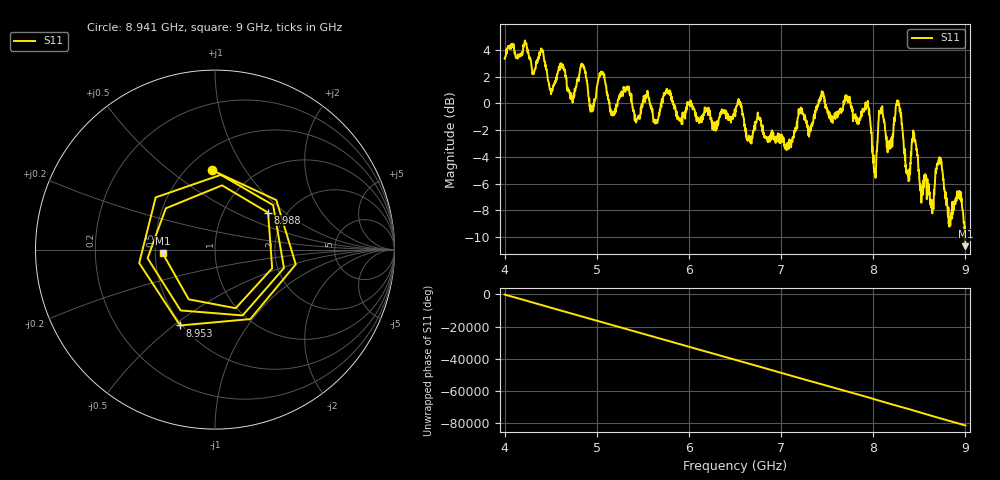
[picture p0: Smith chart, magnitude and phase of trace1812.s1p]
! Created with skrf 1.8.0 (http://scikit-rf.org).
# Hz S RI R 50.0
!freq ReS11 ImS11
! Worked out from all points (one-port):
!   1601 points, 4 GHz to 9 GHz, reference 50 ohm
!   lowest |S11| = -10.7 dB at 9 GHz (marker M1), VSWR 1.83, Z = 27.4 - j1.23 ohm
!   |S11| at or under -10 dB: 8.996733 GHz to end of sweep
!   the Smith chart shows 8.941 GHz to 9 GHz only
!   S11 on the Smith chart (normalised r, x): 8.941 GHz: 0.65, +0.72; 8.953 GHz: 0.49, -0.53; 8.988 GHz: 1.62, +0.76; 9 GHz: 0.55, -0.02
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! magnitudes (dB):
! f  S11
! 4 GHz  3.4
! 4.506 GHz  0.9
! 4.625 GHz  2.9
! 4.731 GHz  0.4
! 4.853 GHz  2.8
! 4.947 GHz  -0.2
! 5.05 GHz  2.3
! 5.166 GHz  -0.8
! 5.25 GHz  0.5
! 5.875 GHz  -0.9
! 6.5 GHz  -0.9
! 7.125 GHz  -2.5
! 7.441 GHz  0.9
! 7.75 GHz  0.0
! 7.941 GHz  0.2
! 8.012 GHz  -5.0
! 8.081 GHz  -0.8
! 8.181 GHz  -3.0
! 8.269 GHz  0.0
! 8.375 GHz  -5.2
! 8.441 GHz  -2.6
! 8.631 GHz  -7.7
! 8.716 GHz  -4.1
! 8.831 GHz  -9.0
! 8.941 GHz  -7.1
! 8.953 GHz  -6.6
! 8.988 GHz  -8.9
! 9 GHz  -10.7
